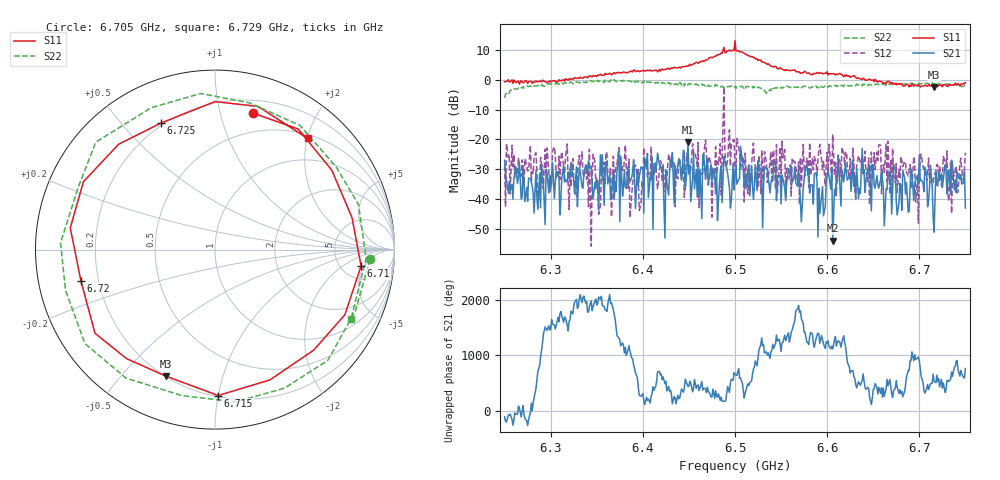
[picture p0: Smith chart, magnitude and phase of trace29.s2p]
# Hz S RI R 50
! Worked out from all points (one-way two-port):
!   401 points, 6.25 GHz to 6.75 GHz, reference 50 ohm
!   highest |S21| = -20.94 dB at 6.449 GHz (marker M1); lowest = -54.0 dB at 6.606 GHz (marker M2)
!   lowest |S11| = -2.4 dB at 6.716 GHz (marker M3), VSWR 7.20, Z = 10.1 - j33.2 ohm
!   |S11| at or under -10 dB: nowhere
!   |S22| runs from -6.0 to 0.0 dB; largest |S21 - S12| = 0.8
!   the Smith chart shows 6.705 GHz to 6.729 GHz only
!   S11 on the Smith chart (normalised r, x): 6.705 GHz: 0.32, +1.27; 6.71 GHz: 7.67, -4.24; 6.715 GHz: 0.21, -1.00; 6.72 GHz: 0.13, -0.11; 6.725 GHz: 0.19, +0.64; 6.729 GHz: 0.57, +2.01
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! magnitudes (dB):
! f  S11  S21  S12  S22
! 6.25 GHz  -0.6  -27.0  -28.7  -6.0
! 6.284 GHz  -0.3  -30.5  -24.5  -2.1
! 6.334 GHz  0.7  -35.9  -24.0  -0.7
! 6.351 GHz  1.6  -34.5  -33.4  -0.1
! 6.374 GHz  2.4  -23.9  -22.8  -0.3
! 6.386 GHz  2.8  -34.2  -46.3  -0.5
! 6.418 GHz  3.4  -28.6  -30.5  -1.3
! 6.425 GHz  3.5  -30.2  -36.2  -0.9
! 6.449 GHz  4.6  -20.9  -28.5  -1.6
! 6.5 GHz  13.2  -31.7  -30.4  -2.2
! 6.512 GHz  8.5  -36.4  -31.2  -2.2
! 6.584 GHz  1.7  -35.3  -26.4  -2.4
! 6.606 GHz  2.1  -54.0  -18.3  -2.2
! 6.668 GHz  -0.7  -33.7  -38.3  -1.5
! 6.705 GHz  -2.1  -37.5  -30.0  -1.3
! 6.71 GHz  -1.7  -40.6  -26.2  -1.3
! 6.715 GHz  -1.8  -46.1  -34.5  -1.3
! 6.716 GHz  -2.4  -51.1  -32.1  -1.3
! 6.72 GHz  -2.3  -35.6  -28.8  -1.2
! 6.725 GHz  -2.3  -36.1  -34.4  -1.8
! 6.729 GHz  -1.9  -30.0  -29.5  -1.4
! 6.75 GHz  -0.9  -43.0  -24.4  -2.5
